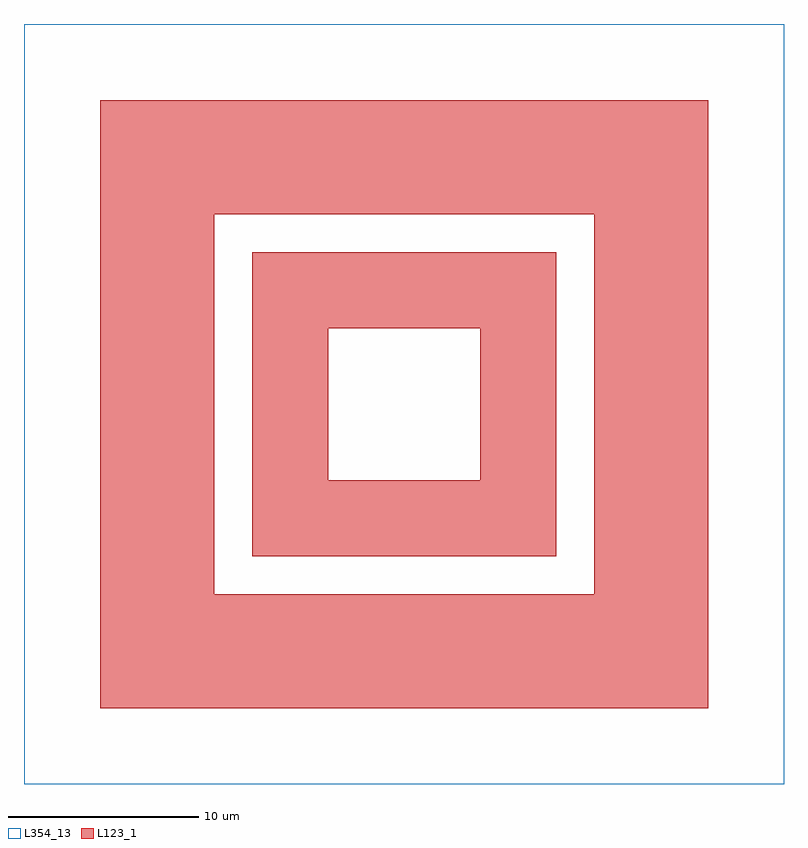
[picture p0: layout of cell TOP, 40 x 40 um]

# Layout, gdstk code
import gdstk
lib = gdstk.Library(unit=1e-6, precision=1e-09)
def R(c, l, rs):  # rectangles x0, y0, x1, y1
    for r in rs: c.add(gdstk.rectangle(r[:2], r[2:], *l))
L123_1 = (123, 1)
L354_13 = (354, 13)

top = lib.new_cell('TOP')
R(top, L123_1, [(4,4,36,10), (4,10,10,30), (30,10,36,30), (12,12,28,16), (12,16,16,24), (24,16,28,24), (12,24,28,28), (4,30,36,36)])
R(top, L354_13, [(0,0,40,40)])

lib.write_gds('TOP.gds')
